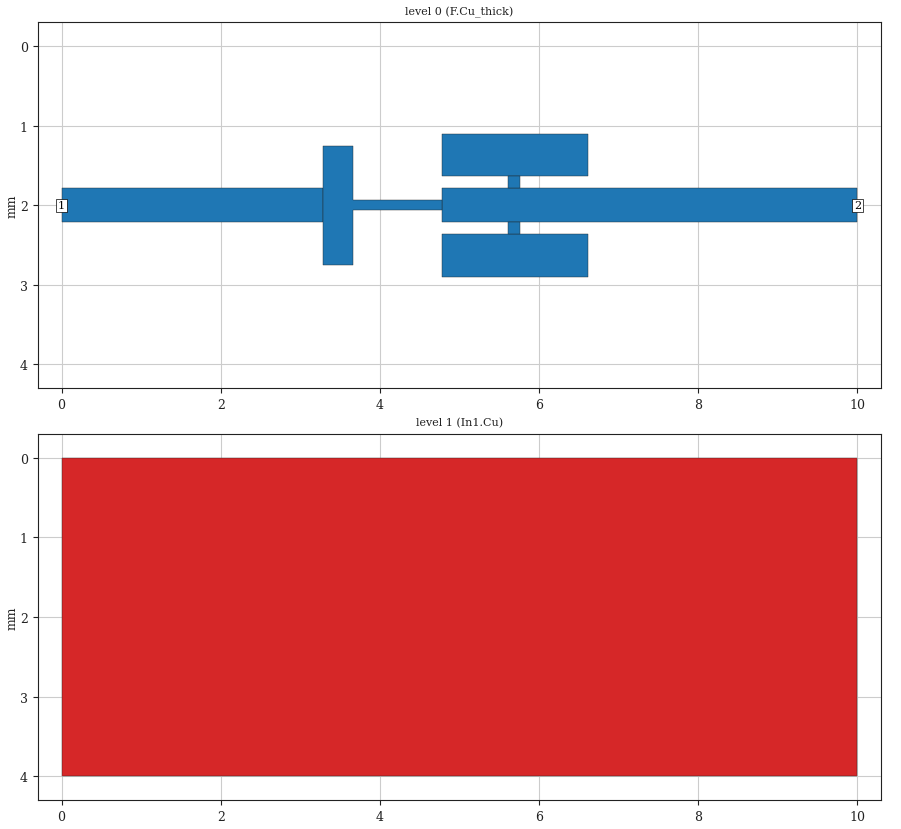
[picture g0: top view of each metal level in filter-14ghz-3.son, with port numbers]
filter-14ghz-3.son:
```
FTYP SONPROJ 19 ! Sonnet Project File
VER 18.56
HEADER
LIC antikernel2.1.52448
DAT 05/25/2023 10:07:30
BUILT_BY_CREATED xgeom 18.54 09/23/2022 20:17:08
BUILT_BY_SAVED sonnet 18.56
MDATE 05/25/2023 10:07:30
HDATE 05/25/2023 10:07:30
ANN Created by dxfgeo, Sonnet Software Inc.
END HEADER
DIM
ANG DEG
CAP FF
CON /OH
FREQ GHZ
IND PH
LNG MM
RES OH
END DIM
CONTROL
VARSWP
OPTIONS  -dj
SPEED 0
CACHE_ABS 2
Q_ACC N
END CONTROL
GEO
DRP1 LEFT FIX 3
DRP1 RIGHT FIX 3
TMET "Free Space" 0 FREESPACE 376.7303136 0 0 0
BMET "Free Space" 0 FREESPACE 376.7303136 0 0 0
MET "Copper_1oz+plated_thick_up" 1 TMM 58000000 0.5 0.0432 2
MET "Copper_1oz+plated_thin" 4 NOR 58000000 0.5 0.0432 
MET "Copper_0.5oz_thin" 2 NOR 58000000 0.5 0.0175 
MET "Copper_1oz+plated_thick_down" 3 TMM 58000000 0.5 0.0432 2 CDVY TDWN
MET "Copper 35um" 1 VOL 58000000 0.035
BOX 4 10 4 2000 640 20 0
      10 1 1 0 0 0 0 "Air"
      0.2021 3.61 1 0.0092 0 0 0 "Isola_FR408HR"
      1.1938 3.61 1 0.0092 0 0 0 "Isola_FR408HR"
      0.2021 3.61 1 0.0092 0 0 0 "Isola_FR408HR"
      10 1 1 0 0 0 0 "Air"
TECHLAY VIA Via1 L3D0 -7 -65534 CAD Via1 drawing 
VIA POLYGON
0 0 4 N 411 1 1 100 100 0 0 0 Y
TOLEVEL 3 RING NOCOVERS
END
END
TECHLAY METAL F.Cu_thick L1D0 -1 -65534 CAD F.Cu drawing 
0 0 0 N 299 1 1 100 100 0 0 0 Y
END
END
TECHLAY METAL F.Cu_thin <UNSPECIFIED> -2 -65534 CAD F.Cu_thin drawing 
0 0 1 N 303 1 1 100 100 0 0 0 Y
END
END
TECHLAY METAL In1.Cu L2D0 -3 -65534 CAD In1.Cu drawing 
1 0 2 N 306 1 1 100 100 0 0 0 Y
END
END
TECHLAY METAL In2.Cu <UNSPECIFIED> -4 -65534 CAD In2.Cu drawing 
2 0 2 N 309 1 1 100 100 0 0 0 Y
END
END
TECHLAY METAL B.Cu_thick <UNSPECIFIED> -5 -65534 CAD B.Cu drawing 
3 0 3 N 312 1 1 100 100 0 0 0 Y
END
END
TECHLAY METAL B.Cu_thin <UNSPECIFIED> -6 -65534 CAD B.Cu_thin drawing 
3 0 1 N 314 1 1 100 100 0 0 0 Y
END
END
DIM STD YDIR 1
POS 0.145896545 1.232675447
NOM 1.8
REF1 POLY 437 1
0
REF2 POLY 435 1
3
END
DIM STD XDIR 1
POS 3.240467858 -0.3982034032
NOM 3.34
REF1 POLY 436 1
5
REF2 POLY 437 1
0
END
DIM STD YDIR 1
POS 0.2338271224 0.04310021686
NOM 0.125
REF1 POLY 436 1
2
REF2 POLY 436 1
1
END
DIM STD XDIR 1
POS 1.000643168 -0.0988658826
NOM 1.12
REF1 POLY 436 1
3
REF2 POLY 436 1
2
END
DIM STD XDIR 1
POS 1.605011888 -0.1939107235
NOM 1.84
REF1 POLY 437 1
1
REF2 POLY 437 1
0
END
DIM STD XDIR 1
POS 0.228016479 -0.07618273861
NOM 0.38
REF1 POLY 436 1
5
REF2 POLY 436 1
4
END
DIM STD YDIR 1
POS -0.204806995 1.322702729
NOM 1.5
REF1 POLY 436 1
5
REF2 POLY 436 1
6
END
LORGN 0 4 U 
POR1 BOX
POLY 396 1
3
1 50 0 0 0 0 2 
POR1 BOX
POLY 399 1
1
2 50 0 0 0 10 2 
NUM 8
0 5 0 N 396 1 1 100 100 0 0 0 Y
TLAYNAM F.Cu_thick INH
0 1.7875
3.28 1.7875
3.28 2.2125
0 2.2125
0 1.7875
END
0 5 0 N 399 1 1 100 100 0 0 0 Y
TLAYNAM F.Cu_thick INH
4.78 1.7875
10 1.7875
10 2.2125
4.78 2.2125
4.78 1.7875
END
0 5 0 N 435 1 1 100 100 0 0 0 Y
TLAYNAM F.Cu_thick INH
6.62 2.3625
4.78 2.3625
4.78 2.9
6.62 2.9
6.62 2.3625
END
0 9 0 N 436 1 1 100 100 0 0 0 Y
TLAYNAM F.Cu_thick INH
3.66 2.0625
4.78 2.0625
4.78 1.9375
3.66 1.9375
3.66 1.25
3.28 1.25
3.28 2.75
3.66 2.75
3.66 2.0625
END
0 5 0 N 437 1 1 100 100 0 0 0 Y
TLAYNAM F.Cu_thick INH
6.62 1.1
4.78 1.1
4.78 1.6375
6.62 1.6375
6.62 1.1
END
0 5 0 N 438 1 1 100 100 0 0 0 Y
TLAYNAM F.Cu_thick INH
5.61 1.6375
5.76 1.6375
5.76 1.7875
5.61 1.7875
5.61 1.6375
END
0 5 0 N 440 1 1 100 100 0 0 0 Y
TLAYNAM F.Cu_thick INH
5.61 2.2125
5.76 2.2125
5.76 2.3625
5.61 2.3625
5.61 2.2125
END
1 5 2 N 133 1 1 100 100 0 0 0 Y
TLAYNAM In1.Cu INH
0 0
10 0
10 4
0 4
0 0
END
END GEO
OPT
MAX 100
END OPT
VARSWP
ENABLED Y
FREQ Y AY ABS_ENTRY 0.1 30.0 -1 300 
END
END VARSWP
```
